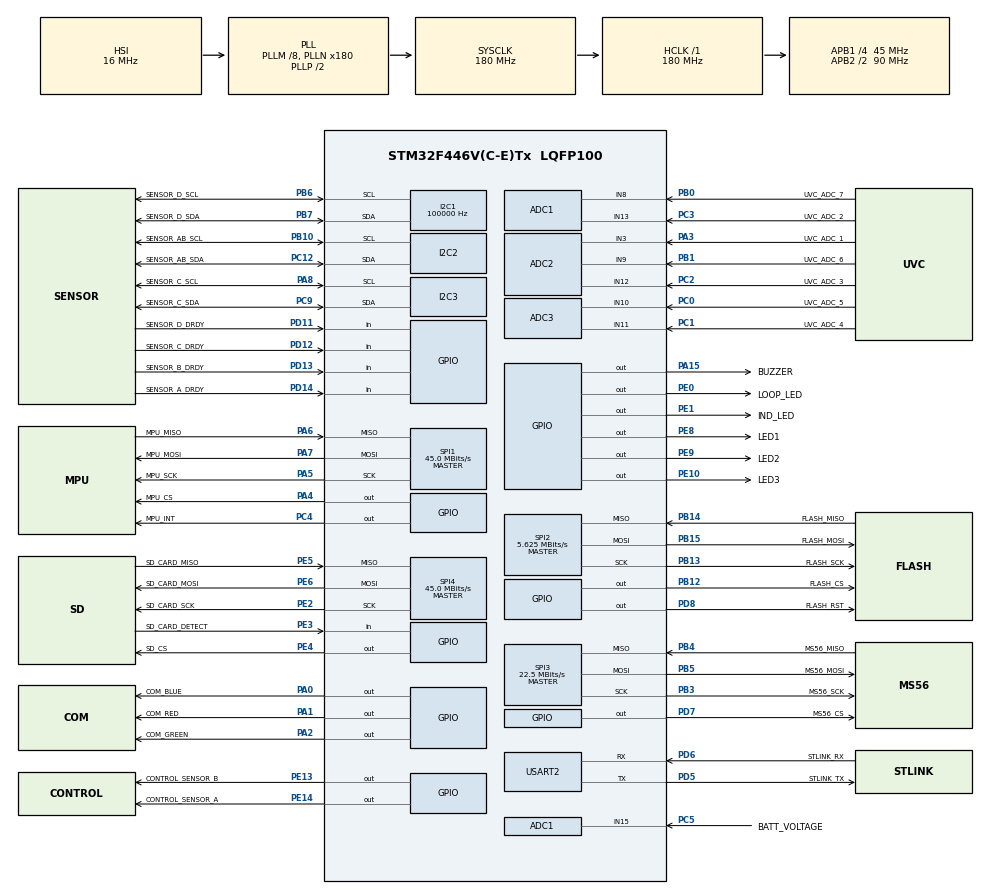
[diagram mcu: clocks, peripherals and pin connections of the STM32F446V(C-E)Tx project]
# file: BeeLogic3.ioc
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ADC1.Channel-0\#ChannelRegularConversion=ADC_CHANNEL_8
ADC1.Channel-1\#ChannelRegularConversion=ADC_CHANNEL_13
ADC1.ClockPrescaler=ADC_CLOCK_SYNC_PCLK_DIV8
ADC1.ContinuousConvMode=ENABLE
ADC1.DMAContinuousRequests=ENABLE
ADC1.ExternalTrigConv=ADC_SOFTWARE_START
ADC1.InjNumberOfConversion=0
ADC1.NbrOfConversion=2
ADC1.NbrOfConversionFlag=1
ADC1.Rank-0\#ChannelRegularConversion=1
ADC1.Rank-1\#ChannelRegularConversion=2
ADC1.SamplingTime-0\#ChannelRegularConversion=ADC_SAMPLETIME_480CYCLES
ADC1.SamplingTime-1\#ChannelRegularConversion=ADC_SAMPLETIME_480CYCLES
ADC1.master=1
ADC2.Channel-0\#ChannelRegularConversion=ADC_CHANNEL_12
ADC2.ClockPrescaler=ADC_CLOCK_SYNC_PCLK_DIV8
ADC2.NbrOfConversionFlag=1
ADC2.Rank-0\#ChannelRegularConversion=1
ADC2.SamplingTime-0\#ChannelRegularConversion=ADC_SAMPLETIME_3CYCLES
ADC3.Channel-0\#ChannelRegularConversion=ADC_CHANNEL_10
ADC3.Channel-1\#ChannelRegularConversion=ADC_CHANNEL_11
ADC3.ClockPrescaler=ADC_CLOCK_SYNC_PCLK_DIV8
ADC3.ContinuousConvMode=ENABLE
ADC3.DMAContinuousRequests=ENABLE
ADC3.ExternalTrigConv=ADC_SOFTWARE_START
ADC3.NbrOfConversion=2
ADC3.NbrOfConversionFlag=1
ADC3.Rank-0\#ChannelRegularConversion=1
ADC3.Rank-1\#ChannelRegularConversion=2
ADC3.SamplingTime-0\#ChannelRegularConversion=ADC_SAMPLETIME_480CYCLES
ADC3.SamplingTime-1\#ChannelRegularConversion=ADC_SAMPLETIME_480CYCLES
ADC3.ScanConvMode=ENABLE
Dma.ADC1.4.Direction=DMA_PERIPH_TO_MEMORY
Dma.ADC1.4.FIFOMode=DMA_FIFOMODE_DISABLE
Dma.ADC1.4.Instance=DMA2_Stream0
Dma.ADC1.4.MemDataAlignment=DMA_MDATAALIGN_HALFWORD
Dma.ADC1.4.MemInc=DMA_MINC_ENABLE
Dma.ADC1.4.Mode=DMA_CIRCULAR
Dma.ADC1.4.PeriphDataAlignment=DMA_PDATAALIGN_HALFWORD
Dma.ADC1.4.PeriphInc=DMA_PINC_DISABLE
Dma.ADC1.4.Priority=DMA_PRIORITY_HIGH
Dma.ADC3.5.Direction=DMA_PERIPH_TO_MEMORY
Dma.ADC3.5.FIFOMode=DMA_FIFOMODE_DISABLE
Dma.ADC3.5.Instance=DMA2_Stream1
Dma.ADC3.5.MemDataAlignment=DMA_MDATAALIGN_HALFWORD
Dma.ADC3.5.MemInc=DMA_MINC_ENABLE
Dma.ADC3.5.Mode=DMA_CIRCULAR
Dma.ADC3.5.PeriphDataAlignment=DMA_PDATAALIGN_HALFWORD
Dma.ADC3.5.PeriphInc=DMA_PINC_DISABLE
Dma.ADC3.5.Priority=DMA_PRIORITY_LOW
Dma.Request0=SPI2_TX
Dma.Request1=SPI2_RX
Dma.Request2=SPI3_RX
Dma.Request3=SPI3_TX
Dma.Request4=ADC1
Dma.Request5=ADC3
Dma.SPI2_RX.1.Direction=DMA_PERIPH_TO_MEMORY
Dma.SPI2_RX.1.FIFOMode=DMA_FIFOMODE_DISABLE
Dma.SPI2_RX.1.Instance=DMA1_Stream3
Dma.SPI2_RX.1.MemDataAlignment=DMA_MDATAALIGN_BYTE
Dma.SPI2_RX.1.MemInc=DMA_MINC_ENABLE
Dma.SPI2_RX.1.Mode=DMA_NORMAL
Dma.SPI2_RX.1.PeriphDataAlignment=DMA_PDATAALIGN_BYTE
Dma.SPI2_RX.1.PeriphInc=DMA_PINC_DISABLE
Dma.SPI2_RX.1.Priority=DMA_PRIORITY_HIGH
Dma.SPI2_TX.0.Direction=DMA_MEMORY_TO_PERIPH
Dma.SPI2_TX.0.FIFOMode=DMA_FIFOMODE_DISABLE
Dma.SPI2_TX.0.Instance=DMA1_Stream4
Dma.SPI2_TX.0.MemDataAlignment=DMA_MDATAALIGN_BYTE
Dma.SPI2_TX.0.MemInc=DMA_MINC_ENABLE
Dma.SPI2_TX.0.Mode=DMA_NORMAL
Dma.SPI2_TX.0.PeriphDataAlignment=DMA_PDATAALIGN_BYTE
Dma.SPI2_TX.0.PeriphInc=DMA_PINC_DISABLE
Dma.SPI2_TX.0.Priority=DMA_PRIORITY_HIGH
Dma.SPI3_RX.2.Direction=DMA_PERIPH_TO_MEMORY
Dma.SPI3_RX.2.FIFOMode=DMA_FIFOMODE_DISABLE
Dma.SPI3_RX.2.Instance=DMA1_Stream0
Dma.SPI3_RX.2.MemDataAlignment=DMA_MDATAALIGN_BYTE
Dma.SPI3_RX.2.MemInc=DMA_MINC_ENABLE
Dma.SPI3_RX.2.Mode=DMA_NORMAL
Dma.SPI3_RX.2.PeriphDataAlignment=DMA_PDATAALIGN_BYTE
Dma.SPI3_RX.2.PeriphInc=DMA_PINC_DISABLE
Dma.SPI3_RX.2.Priority=DMA_PRIORITY_LOW
Dma.SPI3_TX.3.Direction=DMA_MEMORY_TO_PERIPH
Dma.SPI3_TX.3.FIFOMode=DMA_FIFOMODE_DISABLE
Dma.SPI3_TX.3.Instance=DMA1_Stream5
Dma.SPI3_TX.3.MemDataAlignment=DMA_MDATAALIGN_BYTE
Dma.SPI3_TX.3.MemInc=DMA_MINC_ENABLE
Dma.SPI3_TX.3.Mode=DMA_NORMAL
Dma.SPI3_TX.3.PeriphDataAlignment=DMA_PDATAALIGN_BYTE
Dma.SPI3_TX.3.PeriphInc=DMA_PINC_DISABLE
Dma.SPI3_TX.3.Priority=DMA_PRIORITY_LOW
I2C1.ClockSpeed=100000
I2C1.NoStretchMode=I2C_NOSTRETCH_DISABLE
Mcu.Family=STM32F4
Mcu.Name=STM32F446V(C-E)Tx
Mcu.Package=LQFP100
NVIC.ADC_IRQn=true\:0\:0\:false\:false\:true\:true
NVIC.DMA1_Stream0_IRQn=true\:0\:0\:false\:false\:true\:false
NVIC.DMA1_Stream3_IRQn=true\:0\:0\:false\:false\:true\:false
NVIC.DMA1_Stream4_IRQn=true\:0\:0\:false\:false\:true\:false
NVIC.DMA1_Stream5_IRQn=true\:0\:0\:false\:false\:true\:false
NVIC.DMA2_Stream0_IRQn=true\:0\:0\:false\:false\:true\:false
NVIC.DMA2_Stream1_IRQn=true\:0\:0\:false\:false\:true\:false
NVIC.I2C1_ER_IRQn=true\:0\:0\:false\:false\:true\:true
NVIC.I2C1_EV_IRQn=true\:0\:0\:false\:false\:true\:true
NVIC.I2C2_ER_IRQn=true\:0\:0\:false\:false\:true\:true
NVIC.I2C2_EV_IRQn=true\:0\:0\:false\:false\:true\:true
NVIC.I2C3_ER_IRQn=true\:0\:0\:false\:false\:true\:true
NVIC.I2C3_EV_IRQn=true\:0\:0\:false\:false\:true\:true
NVIC.PriorityGroup=NVIC_PRIORITYGROUP_4
NVIC.SPI2_IRQn=true\:0\:0\:false\:false\:true\:true
NVIC.TIM2_IRQn=true\:0\:0\:false\:false\:true\:true
NVIC.TIM3_IRQn=true\:0\:0\:false\:false\:true\:true
NVIC.TIM8_TRG_COM_TIM14_IRQn=true\:0\:0\:false\:false\:true\:true
NVIC.TIM8_UP_TIM13_IRQn=true\:0\:0\:false\:false\:true\:true
PA0-WKUP.GPIO_Label=COM_BLUE
PA0-WKUP.Signal=GPIO_Output
PA1.GPIO_Label=COM_RED
PA1.Signal=GPIO_Output
PA13.GPIO_Label=SWDIO
PA13.Mode=Serial_Wire
PA13.Signal=SYS_JTMS-SWDIO
PA14.GPIO_Label=SWCLK
PA14.Mode=Serial_Wire
PA14.Signal=SYS_JTCK-SWCLK
PA15.GPIO_Label=BUZZER
PA15.Signal=GPIO_Output
PA2.GPIO_Label=COM_GREEN
PA2.Signal=GPIO_Output
PA3.GPIO_Label=UVC_ADC_1
PA3.Signal=ADCx_IN3
PA4.GPIO_Label=MPU_CS
PA4.Signal=GPIO_Output
PA5.GPIO_Label=MPU_SCK
PA5.Mode=Full_Duplex_Master
PA5.Signal=SPI1_SCK
PA6.GPIO_Label=MPU_MISO
PA6.Mode=Full_Duplex_Master
PA6.Signal=SPI1_MISO
PA7.GPIO_Label=MPU_MOSI
PA7.Mode=Full_Duplex_Master
PA7.Signal=SPI1_MOSI
PA8.GPIO_Label=SENSOR_C_SCL
PA8.Mode=I2C
PA8.Signal=I2C3_SCL
PB0.GPIO_Label=UVC_ADC_7
PB0.Signal=ADCx_IN8
PB1.GPIO_Label=UVC_ADC_6
PB1.Signal=ADCx_IN9
PB10.GPIO_Label=SENSOR_AB_SCL
PB10.Mode=I2C
PB10.Signal=I2C2_SCL
PB12.GPIO_Label=FLASH_CS
PB12.Signal=GPIO_Output
PB13.GPIO_Label=FLASH_SCK
PB13.Mode=Full_Duplex_Master
PB13.Signal=SPI2_SCK
PB14.GPIO_Label=FLASH_MISO
PB14.Mode=Full_Duplex_Master
PB14.Signal=SPI2_MISO
PB15.GPIO_Label=FLASH_MOSI
PB15.Mode=Full_Duplex_Master
PB15.Signal=SPI2_MOSI
PB3.GPIO_Label=MS56_SCK
PB3.Mode=Full_Duplex_Master
PB3.Signal=SPI3_SCK
PB4.GPIO_Label=MS56_MISO
PB4.Mode=Full_Duplex_Master
PB4.Signal=SPI3_MISO
PB5.GPIO_Label=MS56_MOSI
PB5.Mode=Full_Duplex_Master
PB5.Signal=SPI3_MOSI
PB6.GPIO_Label=SENSOR_D_SCL
PB6.GPIO_PuPdOD=GPIO_PULLUP
PB6.GPIO_Speed=GPIO_SPEED_FREQ_HIGH
PB6.Mode=I2C
PB6.Signal=I2C1_SCL
PB7.GPIO_Label=SENSOR_D_SDA
PB7.GPIO_PuPdOD=GPIO_PULLUP
PB7.GPIO_Speed=GPIO_SPEED_FREQ_HIGH
PB7.Mode=I2C
PB7.Signal=I2C1_SDA
PC0.GPIO_Label=UVC_ADC_5
PC0.Signal=ADCx_IN10
PC1.GPIO_Label=UVC_ADC_4
PC1.Signal=ADCx_IN11
PC12.GPIO_Label=SENSOR_AB_SDA
PC12.Mode=I2C
PC12.Signal=I2C2_SDA
PC2.GPIO_Label=UVC_ADC_3
PC2.Signal=ADCx_IN12
PC3.GPIO_Label=UVC_ADC_2
PC3.Signal=ADCx_IN13
PC4.GPIO_Label=MPU_INT
PC4.Signal=GPIO_Output
PC5.GPIO_Label=BATT_VOLTAGE
PC5.Signal=ADCx_IN15
PC9.GPIO_Label=SENSOR_C_SDA
PC9.Mode=I2C
PC9.Signal=I2C3_SDA
PD11.GPIO_Label=SENSOR_D_DRDY
PD11.Signal=GPIO_Input
PD12.GPIO_Label=SENSOR_C_DRDY
PD12.Signal=GPIO_Input
PD13.GPIO_Label=SENSOR_B_DRDY
PD13.Signal=GPIO_Input
PD14.GPIO_Label=SENSOR_A_DRDY
PD14.Signal=GPIO_Input
PD5.GPIO_Label=STLINK_TX
PD5.Mode=Asynchronous
PD5.Signal=USART2_TX
PD6.GPIO_Label=STLINK_RX
PD6.Mode=Asynchronous
PD6.Signal=USART2_RX
PD7.GPIO_Label=MS56_CS
PD7.Signal=GPIO_Output
PD8.GPIO_Label=FLASH_RST
PD8.Signal=GPIO_Output
PE0.GPIO_Label=LOOP_LED
PE0.Signal=GPIO_Output
PE1.GPIO_Label=IND_LED
PE1.Signal=GPIO_Output
PE10.GPIO_Label=LED3
PE10.Signal=GPIO_Output
PE13.GPIO_Label=CONTROL_SENSOR_B
PE13.Signal=GPIO_Output
PE14.GPIO_Label=CONTROL_SENSOR_A
PE14.Signal=GPIO_Output
PE2.GPIO_Label=SD_CARD_SCK
PE2.Mode=Full_Duplex_Master
PE2.Signal=SPI4_SCK
PE3.GPIO_Label=SD_CARD_DETECT
PE3.Signal=GPIO_Input
PE4.GPIO_Label=SD_CS
PE4.Signal=GPIO_Output
PE5.GPIO_Label=SD_CARD_MISO
PE5.Mode=Full_Duplex_Master
PE5.Signal=SPI4_MISO
PE6.GPIO_Label=SD_CARD_MOSI
PE6.Mode=Full_Duplex_Master
PE6.Signal=SPI4_MOSI
PE8.GPIO_Label=LED1
PE8.Signal=GPIO_Output
PE9.GPIO_Label=LED2
PE9.Signal=GPIO_Output
PH0-OSC_IN.Signal=RCC_OSC_IN
PH1-OSC_OUT.Signal=RCC_OSC_OUT
ProjectManager.HeapSize=0x200
ProjectManager.StackSize=0x400
ProjectManager.TargetToolchain=SW4STM32
RCC.AHBFreq_Value=180000000
RCC.APB1CLKDivider=RCC_HCLK_DIV4
RCC.APB1Freq_Value=45000000
RCC.APB1TimFreq_Value=90000000
RCC.APB2CLKDivider=RCC_HCLK_DIV2
RCC.APB2Freq_Value=90000000
RCC.APB2TimFreq_Value=180000000
RCC.CortexFreq_Value=180000000
RCC.HCLKFreq_Value=180000000
RCC.PLLM=8
RCC.PLLN=180
RCC.SYSCLKFreq_VALUE=180000000
RCC.SYSCLKSource=RCC_SYSCLKSOURCE_PLLCLK
RCC.USBFreq_Value=180000000
RCC.VCOOutputFreq_Value=360000000
SH.ADCx_IN10.0=ADC3_IN10,IN10
SH.ADCx_IN11.0=ADC3_IN11,IN11
SH.ADCx_IN12.0=ADC2_IN12,IN12
SH.ADCx_IN13.0=ADC1_IN13,IN13
SH.ADCx_IN15.0=ADC1_IN15,IN15
SH.ADCx_IN3.0=ADC2_IN3,IN3
SH.ADCx_IN8.0=ADC1_IN8,IN8
SH.ADCx_IN9.0=ADC2_IN9,IN9
SPI1.CalculateBaudRate=45.0 MBits/s
SPI1.Direction=SPI_DIRECTION_2LINES
SPI1.Mode=SPI_MODE_MASTER
SPI1.VirtualType=VM_MASTER
SPI2.BaudRatePrescaler=SPI_BAUDRATEPRESCALER_8
SPI2.CalculateBaudRate=5.625 MBits/s
SPI2.Direction=SPI_DIRECTION_2LINES
SPI2.Mode=SPI_MODE_MASTER
SPI2.VirtualType=VM_MASTER
SPI3.BaudRatePrescaler=SPI_BAUDRATEPRESCALER_2
SPI3.CalculateBaudRate=22.5 MBits/s
SPI3.Direction=SPI_DIRECTION_2LINES
SPI3.Mode=SPI_MODE_MASTER
SPI3.VirtualType=VM_MASTER
SPI4.CalculateBaudRate=45.0 MBits/s
SPI4.Direction=SPI_DIRECTION_2LINES
SPI4.Mode=SPI_MODE_MASTER
SPI4.VirtualType=VM_MASTER
TIM14.Period=5
TIM14.Prescaler=899
TIM2.Period=3
TIM2.Prescaler=999
TIM3.Period=99
TIM3.Prescaler=8900
TIM3.TIM_MasterOutputTrigger=TIM_TRGO_UPDATE
TIM8.Period=99
TIM8.Prescaler=17999
TIM8.TIM_MasterOutputTrigger=TIM_TRGO_UPDATE
USART2.VirtualMode=VM_ASYNC
VP_RTC_VS_RTC_Activate.Mode=RTC_Enabled
VP_RTC_VS_RTC_Calendar.Mode=RTC_Calendar
VP_TIM14_VS_ClockSourceINT.Mode=Enable_Timer
VP_TIM2_VS_ClockSourceINT.Mode=Internal
VP_TIM3_VS_ClockSourceINT.Mode=Internal
VP_TIM8_VS_ClockSourceINT.Mode=Internal
board=custom

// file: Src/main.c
/* USER CODE BEGIN Header */
/**
  ******************************************************************************
  * @file           : main.c
  * @brief          : Main program body
  ******************************************************************************
  ** This notice applies to any and all portions of this file
  * that are not between comment pairs USER CODE BEGIN and
  * USER CODE END. Other portions of this file, whether
  * inserted by the user or by software development tools
  * are owned by their respective copyright owners.
  *
  * COPYRIGHT(c) 2019 STMicroelectronics
  *
  * Redistribution and use in source and binary forms, with or without modification,
  * are permitted provided that the following conditions are met:
  *   1. Redistributions of source code must retain the above copyright notice,
  *      this list of conditions and the following disclaimer.
  *   2. Redistributions in binary form must reproduce the above copyright notice,
  *      this list of conditions and the following disclaimer in the documentation
  *      and/or other materials provided with the distribution.
  *   3. Neither the name of STMicroelectronics nor the names of its contributors
  *      may be used to endorse or promote products derived from this software
  *      without specific prior written permission.
  *
  * THIS SOFTWARE IS PROVIDED BY THE COPYRIGHT HOLDERS AND CONTRIBUTORS "AS IS"
  * AND ANY EXPRESS OR IMPLIED WARRANTIES, INCLUDING, BUT NOT LIMITED TO, THE
  * IMPLIED WARRANTIES OF MERCHANTABILITY AND FITNESS FOR A PARTICULAR PURPOSE ARE
  * DISCLAIMED. IN NO EVENT SHALL THE COPYRIGHT HOLDER OR CONTRIBUTORS BE LIABLE
  * FOR ANY DIRECT, INDIRECT, INCIDENTAL, SPECIAL, EXEMPLARY, OR CONSEQUENTIAL
  * DAMAGES (INCLUDING, BUT NOT LIMITED TO, PROCUREMENT OF SUBSTITUTE GOODS OR
  * SERVICES; LOSS OF USE, DATA, OR PROFITS; OR BUSINESS INTERRUPTION) HOWEVER
  * CAUSED AND ON ANY THEORY OF LIABILITY, WHETHER IN CONTRACT, STRICT LIABILITY,
  * OR TORT (INCLUDING NEGLIGENCE OR OTHERWISE) ARISING IN ANY WAY OUT OF THE USE
  * OF THIS SOFTWARE, EVEN IF ADVISED OF THE POSSIBILITY OF SUCH DAMAGE.
  *
  ******************************************************************************
  */
/* USER CODE END Header */

#include "main.h"
#include "adc.h"
#include "dma.h"
#include "i2c.h"
#include "rtc.h"
#include "spi.h"
#include "tim.h"
#include "usart.h"
#include "gpio.h"

/* USER CODE BEGIN Includes */
#include "SS_MS5607.h"
#include "SS_S25FL.h"
#include "SS_SCD30.h"
#include "SS_support.h"
#include "SS_it.h"
/* USER CODE END Includes */

/* USER CODE BEGIN PV */
uint16_t adc1_buf[2];
uint16_t adc3_buf[2];
extern uint32_t ADC1_BUF[2];
enum  UART_data{
	Ratunku = 0x01,
	Start_meas = 0x02,
	Erase_data = 0x06,
	logs_to_uart = 0x13,
	End_meas = 0x22,
	Erase_all,
	Start_log,
	End_log,

};
enum FLASH_ID{
	MS5607_pressureID = 1,
	MS5607_altitudeID,
	SCD30_co2ID,
	SCD30_humidityID,
	SCD30_temperatureID,
	ADC1_channel8ID,
	ADC1_channel13ID,
	ADC3_channel10ID,
	ADC3_channel11ID
};
typedef struct{
	uint16_t sizeCO2;
	uint8_t dataCO2[8];
	uint16_t sizeTemp;
	uint8_t dataTemp[8];
	uint16_t sizeHum;
	uint8_t dataHum[8];
}SCD30_VAR;

/* USER CODE END PV */

void SystemClock_Config(void);

int main(void)
{
  /* USER CODE BEGIN 1 */
  //SCD30 variables
  SCD30_VAR SCD30_var;
  SCD30_var.sizeCO2 = 0;
  SCD30_var.sizeHum = 0;
  SCD30_var.sizeTemp = 0;
  float co2_ppm, temperature, relative_humidity;
  uint16_t data_ready;
  int16_t ret;
  uint8_t flash_uart;

  uint32_t page_number = 0;

  //MS5607 variables
  uint8_t refPressIter = 0;
  int32_t ref_pres = 0;
  int32_t average_altitude = 0;
  int16_t interval_in_seconds = 2;
  int32_t altitude_rocket = 0;
  int32_t pressure_rocket = 0;
  int32_t average_pressure = 0;
  uint16_t size = 0;
  uint8_t data[8];

  //ADC variables

  /* USER CODE END 1 */

  /* MCU Configuration--------------------------------------------------------*/

  /* Reset of all peripherals, Initializes the Flash interface and the Systick. */
  HAL_Init();

  /* Configure the system clock */
  SystemClock_Config();

  /* Initialize all configured peripherals */
  MX_GPIO_Init();
  MX_DMA_Init();
  MX_ADC1_Init();
  MX_ADC2_Init();
  MX_ADC3_Init();
  MX_I2C1_Init();
  MX_I2C2_Init();
  MX_I2C3_Init();
  MX_SPI1_Init();
  MX_SPI2_Init();
  MX_SPI3_Init();
  MX_SPI4_Init();
  MX_USART2_UART_Init();
  MX_RTC_Init();
  MX_TIM14_Init();
  MX_TIM2_Init();
  MX_TIM3_Init();
  MX_TIM8_Init();
  /* USER CODE BEGIN 2 */
  //TIM init
  HAL_TIM_Base_Start_IT(&htim2);

  //ADC meas
  HAL_ADC_Start_DMA(&hadc1,adc1_buf,2);
  HAL_ADC_Start_DMA(&hadc3,adc3_buf,2);

  //MS56 INIT
  SS_MS56_init(&ms5607,MS56_PRESS_4096,MS56_TEMP_4096);

  //S25FL Init
  SS_S25FL_reset_init();
  //SS_S25FL_erase_full_chip();
  SS_S25FL_saving_init();
  SS_S25FL_start_logging();

  //Ref press
  while(refPressIter<=10)
  {
	  SS_MS56_read_convert_non_polling(&ms5607);
	  SS_MS56_calculate_average_press(&ms5607, 10);
	  if(ms5607.stage == 0)
		  refPressIter++;
  }
  SS_MS56_set_ref_press(&ms5607);
  ref_pres = SS_MS56_get_ref_press(&ms5607);
  SS_buzzer_start_count(1000, 1600);

//  while(scd_probe() != HAL_OK) {
//
//	  HAL_UART_Transmit(&huart2,"NOK",sizeof("OK"),100);
//      HAL_Delay(100);
//  }
  HAL_UART_Transmit(&huart2,"OK",sizeof("OK"),100);

  scd_set_measurement_interval(interval_in_seconds);
  sensirion_sleep_usec(20000);
  scd_start_periodic_measurement(0);
  HAL_Delay(interval_in_seconds);
  uint32_t time = 0;
  uint32_t postTime = 0;
  /* USER CODE END 2 */

  /* Infinite loop */
  /* USER CODE BEGIN WHILE */
  while (1)
  {
	  time= HAL_GetTick();
	  HAL_UART_Receive(&huart2,&flash_uart,1,100);
	  HAL_GPIO_TogglePin(LOOP_LED_GPIO_Port,LOOP_LED_Pin);
	  //Reset LEd responsible for erase memory
	  HAL_GPIO_WritePin(LED2_GPIO_Port,LED2_Pin,RESET);
	  HAL_GPIO_TogglePin(LED3_GPIO_Port,LED3_Pin);

//	  //<Measurements from SCD30>
//	  ret = scd_get_data_ready(&data_ready);
//	  if (ret == STATUS_OK)
//	  {
//		  if (data_ready)
//		  {
//			ret = scd_read_measurement(&co2_ppm, &temperature,&relative_humidity);
//			if (ret != STATUS_OK)
//			{
//				HAL_UART_Transmit(&huart2,"Error reading\n",sizeof("Error reading\n"),100);
//			}
//			else
//			{
//				SCD30_var.sizeCO2 = sprintf(SCD30_var.dataCO2,"%0.2f CO2_ppm\n",co2_ppm);
//				SCD30_var.sizeHum = sprintf(SCD30_var.dataHum,"%0.2f RH\n",relative_humidity);
//				SCD30_var.sizeTemp = sprintf(SCD30_var.dataTemp,"%0.2f Celsius\n",temperature);
//				HAL_UART_Transmit(&huart2,&SCD30_var.dataCO2,SCD30_var.sizeCO2,100);
//				//HAL_UART_Transmit(&huart2,&SCD30_var.dataHum,SCD30_var.sizeHum,100);
//				HAL_UART_Transmit(&huart2,&SCD30_var.dataTemp,SCD30_var.sizeTemp,100);
//
//				//<Save data from SCD30>
//				SS_S25FL_save_variable_u32(SCD30_co2ID,co2_ppm);
//				SS_S25FL_save_variable_u32(SCD30_humidityID,relative_humidity);
//				SS_S25FL_save_variable_u32(SCD30_temperatureID,temperature);
//			}
//		  }
//	  }
//	  else
//	  {
//		HAL_UART_Transmit(&huart2,"Error data flag\n",sizeof("Error data flag\n"),100);
//	  }
//	  //</Measurements from SCD30>
//
//	  //<=Measurements from MS5607>
//	  SS_MS56_DMA_read_convert_and_calculate();
//	  pressure_rocket = ms5607.press;
//	  SS_MS56_calculate_average_press(&ms5607,3);
//	  average_pressure = ms5607.average_press;
//	  //Print pressure
//	  size = sprintf(data,"%d\n\r",average_pressure);
//	  HAL_UART_Transmit(&huart2,data,size,100);
//
//	  altitude_rocket = SS_MS56_get_altitude(&ms5607);
//	  SS_MS56_calculate_average_altitiude(&ms5607,3);
//	  average_altitude = ms5607.average_altitude;
//	  //Print altitude
//	  size = sprintf(data,"%d\n\r",average_altitude);
//	  HAL_UART_Transmit(&huart2,data,size,100);
//	  //</=Measurements from MS5607>
//
//	  //<Save data to flash>
//	  SS_S25FL_save_variable_u32(MS5607_pressureID,pressure_rocket);
//	  SS_S25FL_save_variable_u32(MS5607_altitudeID,altitude_rocket);
//	  SS_S25FL_save_variable_u32(ADC1_channel8ID,adc1_buf[0]);
//	  SS_S25FL_save_variable_u32(ADC1_channel13ID,adc1_buf[1]);
//	  SS_S25FL_save_variable_u32(ADC3_channel10ID,adc3_buf[0]);
//	  SS_S25FL_save_variable_u32(ADC3_channel11ID,adc3_buf[1]);
	  //</Save data to flash>
	  switch(flash_uart){
	  case Start_meas:
		  //Reset LEd responsible for erase memory
		  HAL_GPIO_WritePin(LED2_GPIO_Port,LED2_Pin,RESET);
		  HAL_GPIO_TogglePin(LED3_GPIO_Port,LED3_Pin);

		  //<Measurements from SCD30>
		  ret = scd_get_data_ready(&data_ready);
		  if (ret == STATUS_OK)
		  {
			  if (data_ready)
			  {
				ret = scd_read_measurement(&co2_ppm, &temperature,&relative_humidity);
				if (ret != STATUS_OK)
				{
					HAL_UART_Transmit(&huart2,"Error reading\n",sizeof("Error reading\n"),100);
				}
				else
				{
					SCD30_var.sizeCO2 = sprintf(SCD30_var.dataCO2,"%0.2f CO2_ppm\n",co2_ppm);
					SCD30_var.sizeHum = sprintf(SCD30_var.dataHum,"%0.2f RH\n",relative_humidity);
					SCD30_var.sizeTemp = sprintf(SCD30_var.dataTemp,"%0.2f Celsius\n",temperature);
					HAL_UART_Transmit(&huart2,&SCD30_var.dataCO2,SCD30_var.sizeCO2,100);
					//HAL_UART_Transmit(&huart2,&SCD30_var.dataHum,SCD30_var.sizeHum,100);
					HAL_UART_Transmit(&huart2,&SCD30_var.dataTemp,SCD30_var.sizeTemp,100);

					//<Save data from SCD30>
					SS_S25FL_save_variable_u32(SCD30_co2ID,co2_ppm);
					SS_S25FL_save_variable_u32(SCD30_humidityID,relative_humidity);
					SS_S25FL_save_variable_u32(SCD30_temperatureID,temperature);
				}
			  }
		  }
		  else
		  {
			HAL_UART_Transmit(&huart2,"Error data flag\n",sizeof("Error data flag\n"),100);
		  }
		  //</Measurements from SCD30>

		  //<=Measurements from MS5607>
		  SS_MS56_DMA_read_convert_and_calculate();
		  pressure_rocket = ms5607.press;
		  SS_MS56_calculate_average_press(&ms5607,3);
		  average_pressure = ms5607.average_press;
		  //Print pressure
		  size = sprintf(data,"%d\n\r",average_pressure);
		  HAL_UART_Transmit(&huart2,data,size,100);

		  altitude_rocket = SS_MS56_get_altitude(&ms5607);
		  SS_MS56_calculate_average_altitiude(&ms5607,3);
		  average_altitude = ms5607.average_altitude;
		  //Print altitude
		  size = sprintf(data,"%d\n\r",average_altitude);
		  HAL_UART_Transmit(&huart2,data,size,100);
		  //</=Measurements from MS5607>

		  //<Save data to flash>
		  SS_S25FL_save_variable_u32(MS5607_pressureID,pressure_rocket);
		  SS_S25FL_save_variable_u32(MS5607_altitudeID,altitude_rocket);
		  SS_S25FL_save_variable_u32(ADC1_channel8ID,adc1_buf[0]);
		  SS_S25FL_save_variable_u32(ADC1_channel13ID,adc1_buf[1]);
		  SS_S25FL_save_variable_u32(ADC3_channel10ID,adc3_buf[0]);
		  SS_S25FL_save_variable_u32(ADC3_channel11ID,adc3_buf[1]);
		  //</Save data to flash>
		  break;
	  case Erase_data:
		  HAL_GPIO_WritePin(LED2_GPIO_Port,LED2_Pin,SET);
		  SS_S25FL_erase_only_written_pages();
		  SS_S25FL_reset_init();
		  SS_S25FL_saving_init();
		  SS_S25FL_start_logging();
		  flash_uart = 0;
		  break;
	  case logs_to_uart:
		  SS_buzzer_start_count(1500, 2500);
		  HAL_GPIO_WritePin(LED2_GPIO_Port,LED2_Pin,RESET);
		  SS_S25FL_stop_logging();
		  SS_S25FL_read_data_logs_to_uart(MS5607_pressureID);
//		  SS_S25FL_read_data_logs_to_uart(MS5607_altitudeID);
//		  SS_S25FL_read_data_logs_to_uart(SCD30_co2ID);
//		  SS_S25FL_read_data_logs_to_uart(SCD30_humidityID);
//		  SS_S25FL_read_data_logs_to_uart(SCD30_temperatureID);
//		  SS_S25FL_read_data_logs_to_uart(ADC1_channel8ID);
//		  SS_S25FL_read_data_logs_to_uart(ADC1_channel13ID);
//		  SS_S25FL_read_data_logs_to_uart(ADC3_channel10ID);
//		  SS_S25FL_read_data_logs_to_uart(ADC3_channel11ID);
		  SS_buzzer_start_count(1000,10000);
		  SS_S25FL_start_logging();
		  flash_uart = 0;
		  break;
	  case End_meas:
		  flash_uart = 0;
		  break;
	  case Erase_all:
		  SS_buzzer_start_count(1500, 2500);
		  SS_S25FL_reset_init();
		  SS_S25FL_erase_full_chip();
		  SS_S25FL_saving_init();
		  SS_S25FL_start_logging();
		  HAL_GPIO_WritePin(LED2_GPIO_Port,LED2_Pin,SET);
		  SS_buzzer_start_count(1500, 3500);
		  flash_uart = 0;
		  break;
	  case Start_log:
		  HAL_GPIO_WritePin(LED2_GPIO_Port,LED2_Pin,RESET);
		  SS_S25FL_start_logging();
		  flash_uart = 0;
		  break;
	  case End_log:
		  SS_S25FL_stop_logging();
		  flash_uart = 0;
		  break;
	  case Ratunku:
		  for(page_number = 501;page_number<=34044;page_number++)
		  {
		  		SS_S25FL_dump_page_to_uart(page_number);
		  }
		  break;

	  }
//	  postTime = HAL_GetTick() - time;
//	  size = sprintf(data,"%d\n\r",postTime);
//	  HAL_UART_Transmit(&huart2,data,size,100);

    /* USER CODE END WHILE */

  }
}

void SystemClock_Config(void)
{
  RCC_OscInitTypeDef RCC_OscInitStruct = {0};
  RCC_ClkInitTypeDef RCC_ClkInitStruct = {0};
  RCC_PeriphCLKInitTypeDef PeriphClkInitStruct = {0};

  /**Configure the main internal regulator output voltage
  */
  __HAL_RCC_PWR_CLK_ENABLE();
  __HAL_PWR_VOLTAGESCALING_CONFIG(PWR_REGULATOR_VOLTAGE_SCALE1);
  /**Initializes the CPU, AHB and APB busses clocks
  */
  RCC_OscInitStruct.OscillatorType = RCC_OSCILLATORTYPE_HSI|RCC_OSCILLATORTYPE_LSI;
  RCC_OscInitStruct.LSEState = RCC_LSE_OFF;
  RCC_OscInitStruct.HSIState = RCC_HSI_ON;
  RCC_OscInitStruct.HSICalibrationValue = RCC_HSICALIBRATION_DEFAULT;
  RCC_OscInitStruct.LSIState = RCC_LSI_ON;
  RCC_OscInitStruct.PLL.PLLState = RCC_PLL_ON;
  RCC_OscInitStruct.PLL.PLLSource = RCC_PLLSOURCE_HSI;
  RCC_OscInitStruct.PLL.PLLM = 8;
  RCC_OscInitStruct.PLL.PLLN = 180;
  RCC_OscInitStruct.PLL.PLLP = RCC_PLLP_DIV2;
  RCC_OscInitStruct.PLL.PLLQ = 2;
  RCC_OscInitStruct.PLL.PLLR = 2;
  if (HAL_RCC_OscConfig(&RCC_OscInitStruct) != HAL_OK)
  {
    Error_Handler();
  }
  /**Activate the Over-Drive mode
  */
  if (HAL_PWREx_EnableOverDrive() != HAL_OK)
  {
    Error_Handler();
  }
  /**Initializes the CPU, AHB and APB busses clocks
  */
  RCC_ClkInitStruct.ClockType = RCC_CLOCKTYPE_HCLK|RCC_CLOCKTYPE_SYSCLK
                              |RCC_CLOCKTYPE_PCLK1|RCC_CLOCKTYPE_PCLK2;
  RCC_ClkInitStruct.SYSCLKSource = RCC_SYSCLKSOURCE_PLLCLK;
  RCC_ClkInitStruct.AHBCLKDivider = RCC_SYSCLK_DIV1;
  RCC_ClkInitStruct.APB1CLKDivider = RCC_HCLK_DIV4;
  RCC_ClkInitStruct.APB2CLKDivider = RCC_HCLK_DIV2;

  if (HAL_RCC_ClockConfig(&RCC_ClkInitStruct, FLASH_LATENCY_5) != HAL_OK)
  {
    Error_Handler();
  }
  PeriphClkInitStruct.PeriphClockSelection = RCC_PERIPHCLK_RTC;
  PeriphClkInitStruct.RTCClockSelection = RCC_RTCCLKSOURCE_LSI;
  if (HAL_RCCEx_PeriphCLKConfig(&PeriphClkInitStruct) != HAL_OK)
  {
    Error_Handler();
  }
}

void Error_Handler(void)
{
}

/************************ (C) COPYRIGHT STMicroelectronics *****END OF FILE****/
